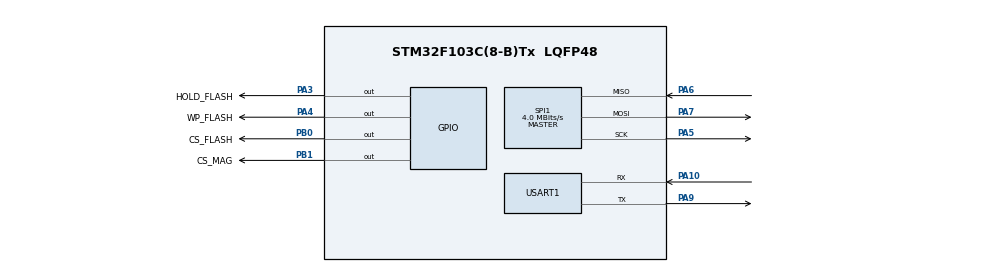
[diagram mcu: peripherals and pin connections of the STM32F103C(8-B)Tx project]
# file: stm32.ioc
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Dma.Request0=USART1_RX
Dma.Request1=SPI1_RX
Dma.Request2=SPI1_TX
Dma.SPI1_RX.1.Direction=DMA_PERIPH_TO_MEMORY
Dma.SPI1_RX.1.Instance=DMA1_Channel2
Dma.SPI1_RX.1.MemDataAlignment=DMA_MDATAALIGN_BYTE
Dma.SPI1_RX.1.MemInc=DMA_MINC_ENABLE
Dma.SPI1_RX.1.Mode=DMA_NORMAL
Dma.SPI1_RX.1.PeriphDataAlignment=DMA_PDATAALIGN_BYTE
Dma.SPI1_RX.1.PeriphInc=DMA_PINC_DISABLE
Dma.SPI1_RX.1.Priority=DMA_PRIORITY_LOW
Dma.SPI1_TX.2.Direction=DMA_MEMORY_TO_PERIPH
Dma.SPI1_TX.2.Instance=DMA1_Channel3
Dma.SPI1_TX.2.MemDataAlignment=DMA_MDATAALIGN_BYTE
Dma.SPI1_TX.2.MemInc=DMA_MINC_ENABLE
Dma.SPI1_TX.2.Mode=DMA_NORMAL
Dma.SPI1_TX.2.PeriphDataAlignment=DMA_PDATAALIGN_BYTE
Dma.SPI1_TX.2.PeriphInc=DMA_PINC_DISABLE
Dma.SPI1_TX.2.Priority=DMA_PRIORITY_LOW
Dma.USART1_RX.0.Direction=DMA_PERIPH_TO_MEMORY
Dma.USART1_RX.0.Instance=DMA1_Channel5
Dma.USART1_RX.0.MemDataAlignment=DMA_MDATAALIGN_BYTE
Dma.USART1_RX.0.MemInc=DMA_MINC_ENABLE
Dma.USART1_RX.0.Mode=DMA_CIRCULAR
Dma.USART1_RX.0.PeriphDataAlignment=DMA_PDATAALIGN_BYTE
Dma.USART1_RX.0.PeriphInc=DMA_PINC_DISABLE
Dma.USART1_RX.0.Priority=DMA_PRIORITY_LOW
FREERTOS.BinarySemaphores01=SPISemaphore,Dynamic,NULL
FREERTOS.Queues01=UARTQueue,1,uint32_t,0,Dynamic,NULL,NULL;SPITxQueue,1,uint32_t,0,Dynamic,NULL,NULL;SPIRxQueue,1,uint32_t,0,Dynamic,NULL,NULL
FREERTOS.Tasks01=UARTTask,1,128,StartUARTTask,Default,NULL,Dynamic,NULL,NULL
Mcu.Family=STM32F1
Mcu.Name=STM32F103C(8-B)Tx
Mcu.Package=LQFP48
NVIC.DMA1_Channel2_IRQn=true\:5\:0\:false\:false\:true\:true\:false\:true
NVIC.DMA1_Channel3_IRQn=true\:5\:0\:false\:false\:true\:true\:false\:true
NVIC.DMA1_Channel5_IRQn=true\:5\:0\:false\:false\:true\:true\:false\:true
NVIC.PriorityGroup=NVIC_PRIORITYGROUP_4
NVIC.TIM1_UP_IRQn=true\:0\:0\:false\:false\:true\:false\:false\:true
NVIC.TimeBase=TIM1_UP_IRQn
NVIC.TimeBaseIP=TIM1
NVIC.USART1_IRQn=true\:5\:0\:false\:false\:true\:true\:true\:true
PA10.Mode=Asynchronous
PA10.Signal=USART1_RX
PA3.GPIO_Label=HOLD_FLASH
PA3.PinState=GPIO_PIN_SET
PA3.Signal=GPIO_Output
PA4.GPIO_Label=WP_FLASH
PA4.PinState=GPIO_PIN_SET
PA4.Signal=GPIO_Output
PA5.Mode=Full_Duplex_Master
PA5.Signal=SPI1_SCK
PA6.Mode=Full_Duplex_Master
PA6.Signal=SPI1_MISO
PA7.Mode=Full_Duplex_Master
PA7.Signal=SPI1_MOSI
PA9.Mode=Asynchronous
PA9.Signal=USART1_TX
PB0.GPIO_Label=CS_FLASH
PB0.GPIO_ModeDefaultOutputPP=GPIO_MODE_OUTPUT_OD
PB0.GPIO_PuPd=GPIO_NOPULL
PB0.PinState=GPIO_PIN_SET
PB0.Signal=GPIO_Output
PB1.GPIO_Label=CS_MAG
PB1.GPIO_ModeDefaultOutputPP=GPIO_MODE_OUTPUT_OD
PB1.PinState=GPIO_PIN_SET
PB1.Signal=GPIO_Output
ProjectManager.HeapSize=0x200
ProjectManager.StackSize=0x400
ProjectManager.TargetToolchain=STM32CubeIDE
RCC.AHBFreq_Value=8000000
RCC.APB1Freq_Value=8000000
RCC.APB1TimFreq_Value=8000000
RCC.APB2Freq_Value=8000000
RCC.APB2TimFreq_Value=8000000
RCC.HCLKFreq_Value=8000000
SPI1.CalculateBaudRate=4.0 MBits/s
SPI1.Direction=SPI_DIRECTION_2LINES
SPI1.Mode=SPI_MODE_MASTER
SPI1.VirtualType=VM_MASTER
USART1.VirtualMode=VM_ASYNC
VP_FREERTOS_VS_CMSIS_V1.Mode=CMSIS_V1
VP_SYS_VS_ND.Mode=No_Debug
VP_SYS_VS_tim1.Mode=TIM1
board=custom

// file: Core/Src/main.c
/* USER CODE BEGIN Header */
/**
  ******************************************************************************
  * @file           : main.c
  * @brief          : Main program body
  ******************************************************************************
  * @attention
  *
  * <h2><center>&copy; Copyright (c) 2021 STMicroelectronics.
  * All rights reserved.</center></h2>
  *
  * This software component is licensed by ST under BSD 3-Clause license,
  * the "License"; You may not use this file except in compliance with the
  * License. You may obtain a copy of the License at:
  *                        opensource.org/licenses/BSD-3-Clause
  *
  ******************************************************************************
  */
/* USER CODE END Header */
#include "main.h"
#include "cmsis_os.h"
#include "dma.h"
#include "spi.h"
#include "usart.h"
#include "gpio.h"

/* USER CODE BEGIN Includes */
#include "w25q80dv.h"
#include "lis3mdl.h"
/* USER CODE END Includes */

void SystemClock_Config(void);
void MX_FREERTOS_Init(void);

int main(void)
{

  /* MCU Configuration--------------------------------------------------------*/

  /* Reset of all peripherals, Initializes the Flash interface and the Systick. */
  HAL_Init();

  /* Configure the system clock */
  SystemClock_Config();

  /* Initialize all configured peripherals */
  MX_GPIO_Init();
  MX_DMA_Init();
  MX_SPI1_Init();
  MX_USART1_UART_Init();

  /* Call init function for freertos objects (in freertos.c) */
  MX_FREERTOS_Init();
  /* Start scheduler */
  osKernelStart();

  /* We should never get here as control is now taken by the scheduler */
  /* Infinite loop */
  while (1)
  {

  }
}

void SystemClock_Config(void)
{
  RCC_OscInitTypeDef RCC_OscInitStruct = {0};
  RCC_ClkInitTypeDef RCC_ClkInitStruct = {0};

  /** Initializes the RCC Oscillators according to the specified parameters
  * in the RCC_OscInitTypeDef structure.
  */
  RCC_OscInitStruct.OscillatorType = RCC_OSCILLATORTYPE_HSI;
  RCC_OscInitStruct.HSIState = RCC_HSI_ON;
  RCC_OscInitStruct.HSICalibrationValue = RCC_HSICALIBRATION_DEFAULT;
  RCC_OscInitStruct.PLL.PLLState = RCC_PLL_NONE;
  if (HAL_RCC_OscConfig(&RCC_OscInitStruct) != HAL_OK)
  {
    Error_Handler();
  }
  /** Initializes the CPU, AHB and APB buses clocks
  */
  RCC_ClkInitStruct.ClockType = RCC_CLOCKTYPE_HCLK|RCC_CLOCKTYPE_SYSCLK
                              |RCC_CLOCKTYPE_PCLK1|RCC_CLOCKTYPE_PCLK2;
  RCC_ClkInitStruct.SYSCLKSource = RCC_SYSCLKSOURCE_HSI;
  RCC_ClkInitStruct.AHBCLKDivider = RCC_SYSCLK_DIV1;
  RCC_ClkInitStruct.APB1CLKDivider = RCC_HCLK_DIV1;
  RCC_ClkInitStruct.APB2CLKDivider = RCC_HCLK_DIV1;

  if (HAL_RCC_ClockConfig(&RCC_ClkInitStruct, FLASH_LATENCY_0) != HAL_OK)
  {
    Error_Handler();
  }
}

 /**
  * @brief  Period elapsed callback in non blocking mode
  * @note   This function is called  when TIM1 interrupt took place, inside
  * HAL_TIM_IRQHandler(). It makes a direct call to HAL_IncTick() to increment
  * a global variable "uwTick" used as application time base.
  * @param  htim : TIM handle
  * @retval None
  */
void HAL_TIM_PeriodElapsedCallback(TIM_HandleTypeDef *htim)
{
  if (htim->Instance == TIM1) {
    HAL_IncTick();
  }
}

void Error_Handler(void)
{
  __disable_irq();
  while (1)
  {
  }
}

/************************ (C) COPYRIGHT STMicroelectronics *****END OF FILE****/

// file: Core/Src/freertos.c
/* USER CODE BEGIN Header */
/**
  ******************************************************************************
  * File Name          : freertos.c
  * Description        : Code for freertos applications
  ******************************************************************************
  * @attention
  *
  * <h2><center>&copy; Copyright (c) 2021 STMicroelectronics.
  * All rights reserved.</center></h2>
  *
  * This software component is licensed by ST under Ultimate Liberty license
  * SLA0044, the "License"; You may not use this file except in compliance with
  * the License. You may obtain a copy of the License at:
  *                             www.st.com/SLA0044
  *
  ******************************************************************************
  */
/* USER CODE END Header */

#include "FreeRTOS.h"
#include "task.h"
#include "main.h"
#include "cmsis_os.h"

/* USER CODE BEGIN Includes */
#include <stdlib.h>
#include <stdio.h>
#include <string.h>
#include "cmsis_os.h"
#include "usart.h"
#include "lis3mdl.h"
#include "w25q80dv.h"
#include "extflash_memory.h"
/* USER CODE END Includes */

/* USER CODE BEGIN Variables */

extern UART_HandleTypeDef huart1;
extern DMA_HandleTypeDef hdma_usart1_rx;

osThreadId MagTaskHandle;

/* USER CODE END Variables */
osThreadId UARTTaskHandle;
osMessageQId UARTQueueHandle;
osMessageQId SPITxQueueHandle;
osMessageQId SPIRxQueueHandle;
osSemaphoreId SPISemaphoreHandle;

/* USER CODE BEGIN FunctionPrototypes */

void StartMagTask(void const * argument);

/* USER CODE END FunctionPrototypes */

void StartUARTTask(void const * argument);

void MX_FREERTOS_Init(void); /* (MISRA C 2004 rule 8.1) */

/* GetIdleTaskMemory prototype (linked to static allocation support) */
void vApplicationGetIdleTaskMemory( StaticTask_t **ppxIdleTaskTCBBuffer, StackType_t **ppxIdleTaskStackBuffer, uint32_t *pulIdleTaskStackSize );

/* USER CODE BEGIN GET_IDLE_TASK_MEMORY */
static StaticTask_t xIdleTaskTCBBuffer;
static StackType_t xIdleStack[configMINIMAL_STACK_SIZE];

void vApplicationGetIdleTaskMemory( StaticTask_t **ppxIdleTaskTCBBuffer, StackType_t **ppxIdleTaskStackBuffer, uint32_t *pulIdleTaskStackSize )
{
  *ppxIdleTaskTCBBuffer = &xIdleTaskTCBBuffer;
  *ppxIdleTaskStackBuffer = &xIdleStack[0];
  *pulIdleTaskStackSize = configMINIMAL_STACK_SIZE;
  /* place for user code */
}
/* USER CODE END GET_IDLE_TASK_MEMORY */

void MX_FREERTOS_Init(void) {

  /* Create the semaphores(s) */
  /* definition and creation of SPISemaphore */
  osSemaphoreDef(SPISemaphore);
  SPISemaphoreHandle = osSemaphoreCreate(osSemaphore(SPISemaphore), 1);

  /* Create the queue(s) */
  /* definition and creation of UARTQueue */
  osMessageQDef(UARTQueue, 1, uint32_t);
  UARTQueueHandle = osMessageCreate(osMessageQ(UARTQueue), NULL);

  /* definition and creation of SPITxQueue */
  osMessageQDef(SPITxQueue, 1, uint32_t);
  SPITxQueueHandle = osMessageCreate(osMessageQ(SPITxQueue), NULL);

  /* definition and creation of SPIRxQueue */
  osMessageQDef(SPIRxQueue, 1, uint32_t);
  SPIRxQueueHandle = osMessageCreate(osMessageQ(SPIRxQueue), NULL);

  /* Create the thread(s) */
  /* definition and creation of UARTTask */
  osThreadDef(UARTTask, StartUARTTask, osPriorityAboveNormal, 0, 128);
  UARTTaskHandle = osThreadCreate(osThread(UARTTask), NULL);

}

void StartUARTTask(void const * argument)
{
  /* USER CODE BEGIN StartUARTTask */
  char rx_buffer[UART_DATA_SIZE];
  char dt_buff[30];
  osEvent event;
  int16_t x_mag, y_mag, z_mag, temp_mag;
  uint32_t received_id_value;

  /* Start DMA RX interrupt (circular mode) */
  HAL_UART_Receive_DMA(&huart1,(uint8_t*)&rx_buffer[0],UART_DATA_SIZE);

  /* Try to initialize both memory and magnetometer, if error reset program */
  if(osSemaphoreWait(SPISemaphoreHandle, osWaitForever) > 0)
  {
	  /* If memory init could not be done,
	   * inform via UART and do something (reset maybe).
	   */
	  if(W25Q80DV_Init() != W25Q80DV_OK)
	  {
		SERIAL_SEND("FLASH init error. Resetting MCU\r\n");
		/* TODO: Reset MCU or something... */
		osThreadTerminate(UARTTaskHandle);
	  }

	  /* If magnetometer init could not be done,
	   * inform via UART and do something (reset maybe).
	   */
	  if(LIS3MDL_Init() != LIS3MDL_OK)
	  {
		SERIAL_SEND("FLASH init error. Resetting MCU\r\n");
		/* TODO: Reset MCU or something... */
		osThreadTerminate(UARTTaskHandle);
	  }
  }

  /* Otherwise define and create magnetometer task */
  osThreadDef(MagTask, StartMagTask, osPriorityNormal, 0, 128);
  MagTaskHandle = osThreadCreate(osThread(MagTask), NULL);

  /* Infinite loop */
  for(;;)
  {
	/* Wait until UART data received */
	event = osMessageGet(UARTQueueHandle, osWaitForever);
	if(event.status == osEventMessage)
	{
 	  /* Take SPI semaphore when available, so that we receive the data as fast as possible */
	  if(osSemaphoreWait(SPISemaphoreHandle, osWaitForever) > 0)
	  {
		/* Get ID value */
		received_id_value = atoi(rx_buffer);

		/* Check if data present on memory, otherwise send error. */
		if(EXTFLASH_CheckID(received_id_value) != EXTFLASH_OK)
		{
		  SERIAL_SEND("Error. Data not found.\r\n");
		}
		else
		{
		  /* Get data from FLASH memory and send it via UART if OK */
		  if(EXTFLASH_ReadData(received_id_value, &x_mag, &y_mag, &z_mag, &temp_mag) == EXTFLASH_OK)
		  {
			  /* Send data via UART */
			  sprintf(dt_buff,"Magnetometer x value = %d\r\n", x_mag);
			  SERIAL_SEND(dt_buff);

			  sprintf(dt_buff,"Magnetometer y value = %d\r\n", y_mag);
			  SERIAL_SEND(dt_buff);

			  sprintf(dt_buff,"Magnetometer z value = %d\r\n", z_mag);
			  SERIAL_SEND(dt_buff);

			  sprintf(dt_buff,"Temperature value = %d\r\n", temp_mag);
			  SERIAL_SEND(dt_buff);
		  }
		  else
		  {
		    SERIAL_SEND("Error reading external flash data\r\n");
		  }
		}

		/* Release SPI semaphore */
		osSemaphoreRelease(SPISemaphoreHandle);
	  }
    }
  }
  /* USER CODE END StartUARTTask */
}

/* USER CODE BEGIN Application */

/**
  * @brief Function implementing the MagTask thread.
  * @param argument: Not used
  * @retval None
  */
void StartMagTask(void const * argument)
{
  LIS3MDL_DataTypeDef read_data;
  LIS3MDL_StatusTypeDef magnetometer_retval = LIS3MDL_ERROR;
  uint32_t memory_id = 0;

  /* Infinite loop */
  for(;;)
  {
    /* Take SPI semaphore when available */
    if(osSemaphoreWait(SPISemaphoreHandle, osWaitForever) > 0)
    {
        /* Read magnetometer values */
    	magnetometer_retval = LIS3MDL_ReadValues(&read_data);

    	/* Release SPI semaphore */
    	osSemaphoreRelease(SPISemaphoreHandle);
    }

    /* In case a UART receive interrupt occured during the LIS3MDL read, release the SPI
     * semaphore to unlock the serial thread. An osDelay is added to call the scheduler */
    osDelay(1);

    /* Try to write only if magnetometer data read OK */
    if(magnetometer_retval == LIS3MDL_OK)
    {
	  /* Take SPI semaphore when available */
	  if(osSemaphoreWait(SPISemaphoreHandle, osWaitForever) > 0)
	  {
		/* Write to FLASH memory and if OK increment offset */
		if(EXTFLASH_WriteData(memory_id, read_data.mag_x, read_data.mag_y, read_data.mag_z, read_data.temp) == EXTFLASH_OK)
		{
		  /* Increment memory offset */
		  memory_id++;
		}

		/* Release SPI semaphore */
		osSemaphoreRelease(SPISemaphoreHandle);
	  }
    }
	/* Send data every second (if possible) */
	osDelay(1000);
  }
}
/* USER CODE END Application */

/************************ (C) COPYRIGHT STMicroelectronics *****END OF FILE****/
